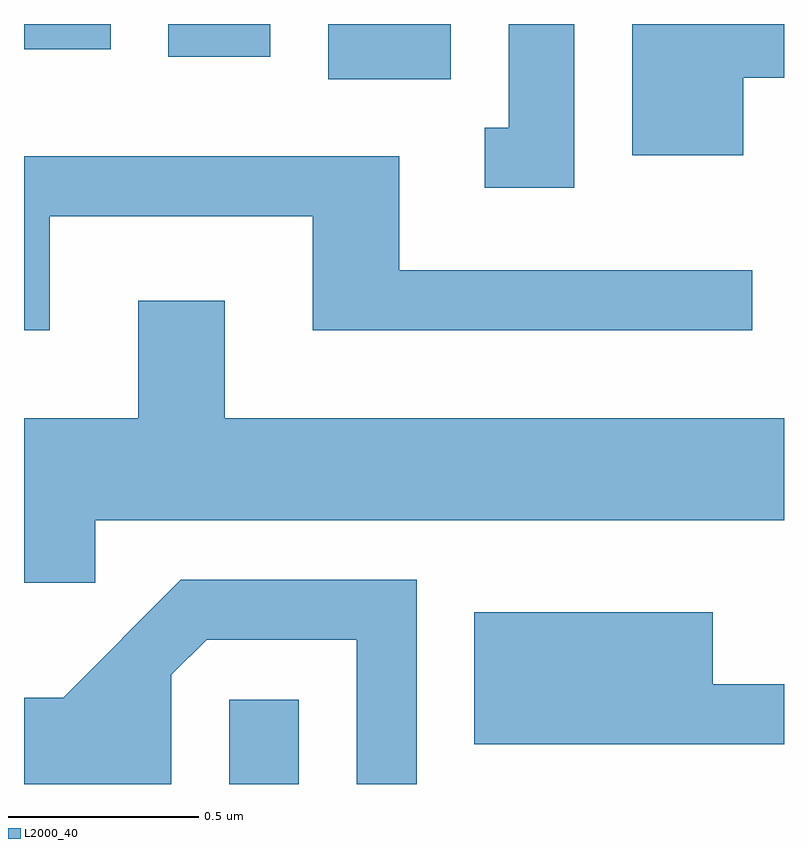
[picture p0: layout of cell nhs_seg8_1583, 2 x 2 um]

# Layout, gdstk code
import gdstk
lib = gdstk.Library(unit=1e-6, precision=1e-09)
def R(c, l, rs):  # rectangles x0, y0, x1, y1
    for r in rs: c.add(gdstk.rectangle(r[:2], r[2:], *l))
def P(c, l, *ps):  # polygons
    for p in ps: c.add(gdstk.Polygon(p, *l))
L2000_40 = (2000, 40)

nhs_seg8_1583 = lib.new_cell('nhs_seg8_1583')
R(nhs_seg8_1583, L2000_40, [(197.151,1882.342,197.334,1882.564), (197.411,1884.196,197.734,1884.342), (196.991,1884.256,197.259,1884.342), (196.611,1884.276,196.839,1884.342)])
P(nhs_seg8_1583, L2000_40, [(198.504,1884.201),(198.611,1884.201),(198.611,1884.342),(198.211,1884.342),(198.211,1883.996),(198.504,1883.996)],
  [(198.059,1884.342),(197.886,1884.342),(197.886,1884.069),(197.823,1884.069),(197.823,1883.911),(198.059,1883.911)],
  [(196.679,1883.836),(197.371,1883.836),(197.371,1883.536),(198.528,1883.536),(198.528,1883.694),(197.599,1883.694),(197.599,1883.994),(196.611,1883.994),(196.611,1883.536),(196.679,1883.536)],
  [(196.799,1883.036),(198.611,1883.036),(198.611,1883.304),(197.139,1883.304),(197.139,1883.614),(196.911,1883.614),(196.911,1883.304),(196.611,1883.304),(196.611,1882.871),(196.799,1882.871)],
  [(196.999,1882.629),(197.092,1882.721),(197.486,1882.721),(197.486,1882.342),(197.644,1882.342),(197.644,1882.879),(197.024,1882.879),(196.714,1882.569),(196.611,1882.569),(196.611,1882.342),(196.999,1882.342)],
  [(198.611,1882.604),(198.424,1882.604),(198.424,1882.794),(197.796,1882.794),(197.796,1882.446),(198.611,1882.446)])

lib.write_gds('nhs_seg8_1583.gds')
